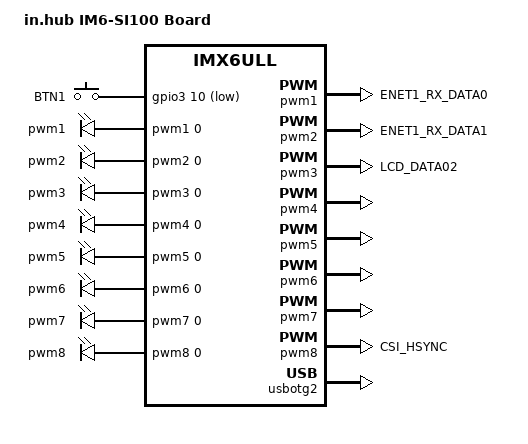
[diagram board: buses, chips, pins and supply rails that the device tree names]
// SPDX-License-Identifier: GPL-2.0-only
/*
 * Copyright 2021 in.hub GmbH
 */

/dts-v1/;

#include "imx6ull-inhub-im6.dtsi"

/ {
	model = "in.hub IM6-SI100 Board";
	compatible = "inhub,im6-si100", "fsl,imx6ull";

	gpio_buttons: gpio-keys {
		compatible = "gpio-keys";
		pinctrl-names = "default";
		pinctrl-0 = <&pinctrl_gpio_keys>;

		button-1 {
			label = "BTN1";
			linux,code = <KEY_1>;
			gpios = <&gpio3 10 GPIO_ACTIVE_LOW>;
		};
	};

	pwmleds {
		compatible = "pwm-leds";

		pwm1 {
			label = "pwm1";
			pwms = <&pwm1 0 50000 0>;
			max-brightness = <100>;
		};

		pwm2 {
			label = "pwm2";
			pwms = <&pwm2 0 50000 0>;
			max-brightness = <100>;
		};

		pwm3 {
			label = "pwm3";
			pwms = <&pwm3 0 50000 0>;
			max-brightness = <100>;
		};

		pwm4 {
			label = "pwm4";
			pwms = <&pwm4 0 50000 0>;
			max-brightness = <100>;
		};

		pwm5 {
			label = "pwm5";
			pwms = <&pwm5 0 50000 0>;
			max-brightness = <100>;
		};

		pwm6 {
			label = "pwm6";
			pwms = <&pwm6 0 50000 0>;
			max-brightness = <100>;
		};

		pwm7 {
			label = "pwm7";
			pwms = <&pwm7 0 50000 0>;
			max-brightness = <100>;
		};

		pwm8 {
			label = "pwm8";
			pwms = <&pwm8 0 50000 0>;
			max-brightness = <100>;
		};
	};
};

&iomuxc {
	pinctrl-0 = <&pinctrl_gpio3>;

	pinctrl_pwm1: pwm1-grp {
		fsl,pins = <
			MX6UL_PAD_ENET1_RX_DATA0__PWM1_OUT	0x79
		>;
	};
	pinctrl_pwm2: pwm2-grp {
		fsl,pins = <
			MX6UL_PAD_ENET1_RX_DATA1__PWM2_OUT	0x79
		>;
	};
	pinctrl_pwm3: pwm3-grp {
		fsl,pins = <
			MX6UL_PAD_LCD_DATA02__PWM3_OUT		0x79
		>;
	};
	pinctrl_pwm8: pwm8-grp {
		fsl,pins = <
			MX6UL_PAD_CSI_HSYNC__PWM8_OUT		0x79
		>;
	};

	pinctrl_gpio_keys: gpio-keys-grp {
		fsl,pins = <
			MX6UL_PAD_LCD_DATA05__GPIO3_IO10	0xf070 /* SODIMM 72 - BTN1 */
		>;
	};

};

&pwm1 {
	status = "okay";
	pinctrl-names = "default";
	pinctrl-0 = <&pinctrl_pwm1>;
	#pwm-cells = <3>;
};

&pwm2 {
	status = "okay";
	pinctrl-names = "default";
	pinctrl-0 = <&pinctrl_pwm2>;
	#pwm-cells = <3>;
};

&pwm3 {
	status = "okay";
	pinctrl-names = "default";
	pinctrl-0 = <&pinctrl_pwm3>;
	#pwm-cells = <3>;
};

&pwm4 {
	status = "okay";
};

&pwm5 {
	status = "okay";
};

&pwm6 {
	status = "okay";
};

&pwm7 {
	status = "okay";
};

&pwm8 {
	status = "okay";
	pinctrl-names = "default";
	pinctrl-0 = <&pinctrl_pwm8>;
	#pwm-cells = <3>;
};

&usbotg2 {
	status = "okay";
};

